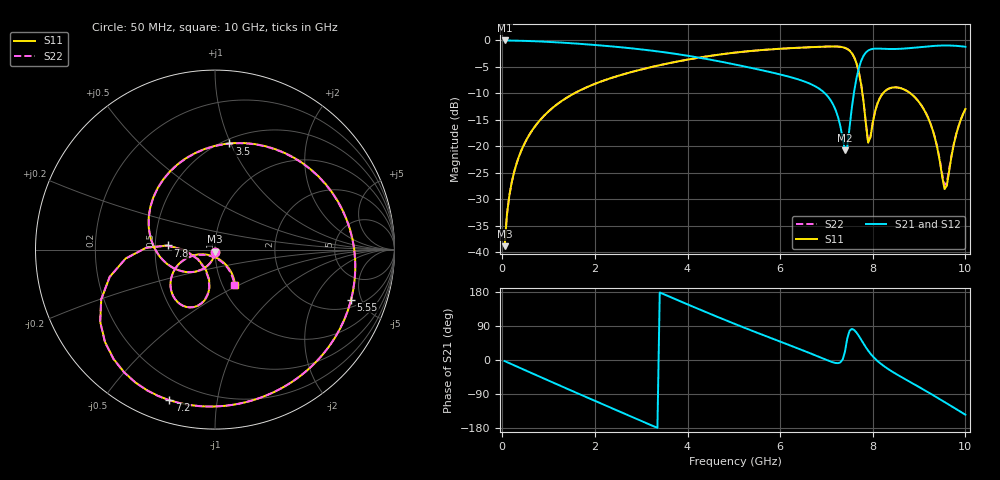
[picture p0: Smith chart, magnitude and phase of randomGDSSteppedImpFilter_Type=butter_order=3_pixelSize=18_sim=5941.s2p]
! freq	dB(S11)	phase(S11)	dB(S12)	phase(S12)
!  dB(S21)	phase(S21)	dB(S22)	phase(S22)
!S-par simulation data
#  GHz  S  DB  R 50
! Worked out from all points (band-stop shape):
!   200 points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, 50 MHz to 10 GHz, reference 50 ohm
!   highest |S21| = 0.00 dB at 50 MHz (marker M1); lowest = -20.8 dB at 7.4 GHz (marker M2)
!   |S21| within 3 dB of the highest: start of sweep to 4.081 GHz; 7.794 GHz to end of sweep
!   lowest |S11| = -38.9 dB at 50 MHz (marker M3), VSWR 1.02, Z = 50 - j1.14 ohm
!   |S11| at or under -10 dB: start of sweep to 1.553 GHz; 7.776 GHz to 8.221 GHz (444.5 MHz wide, 5.56 % of centre); 8.813 GHz to end of sweep
!   |S22| runs from -38.9 to -1.1 dB; largest |S21 - S12| = 0
!   S11 on the Smith chart (normalised r, x): 50 MHz: 1.00, -0.02; 3.5 GHz: 0.54, +0.99; 5.55 GHz: 2.55, -4.10; 7.2 GHz: 0.10, -0.74; 7.8 GHz: 0.58, +0.03; 10 GHz: 1.15, -0.47
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0.05  -38.87 -91.8  -0.00 -2.8  -0.00 -2.8  -38.87 -91.9
0.2  -26.96 -101.0  -0.03 -11.0  -0.03 -11.0  -26.96 -101.1
0.5  -19.13 -117.8  -0.09 -27.3  -0.09 -27.3  -19.14 -117.9
1.15  -12.28 -153.1  -0.34 -62.5  -0.34 -62.5  -12.29 -153.3
1.75  -9.14 174.8  -0.69 -94.5  -0.69 -94.5  -9.14 174.5
2.65  -6.31 127.1  -1.37 -142.2  -1.37 -142.2  -6.31 126.7
3.4  -4.67 87.6  -2.12 178.2  -2.12 178.2  -4.67 87.1
3.5  -4.48 82.3  -2.24 172.9  -2.24 172.9  -4.49 81.8
4.3  -3.18 40.9  -3.33 131.3  -3.33 131.3  -3.18 40.5
5.05  -2.28 3.7  -4.59 93.8  -4.59 93.8  -2.28 3.3
5.55  -1.85 -20.2  -5.52 69.7  -5.52 69.7  -1.85 -20.5
6.7  -1.26 -75.3  -8.40 15.2  -8.40 15.2  -1.26 -75.5
7.2  -1.14 -106.9  -13.20 -7.9  -13.20 -7.9  -1.14 -107.0
7.4  -1.40 -126.5  -20.75 22.7  -20.75 22.7  -1.40 -126.6
7.6  -3.20 -156.4  -9.50 79.0  -9.50 79.0  -3.20 -156.4
7.8  -11.52 175.0  -2.89 43.2  -2.89 43.2  -11.47 175.3
7.9  -19.32 -150.8  -1.90 24.8  -1.90 24.8  -19.15 -150.8
8.1  -11.95 -99.0  -1.54 -2.3  -1.54 -2.3  -11.94 -99.4
8.35  -9.10 -113.3  -1.62 -25.3  -1.62 -25.3  -9.09 -113.6
9.1  -12.99 -157.4  -1.19 -78.4  -1.19 -78.4  -12.96 -157.1
9.55  -28.08 -120.1  -0.95 -110.9  -0.95 -110.9  -27.37 -120.2
10  -12.96 -60.3  -1.19 -144.3  -1.19 -144.3  -12.96 -61.6
